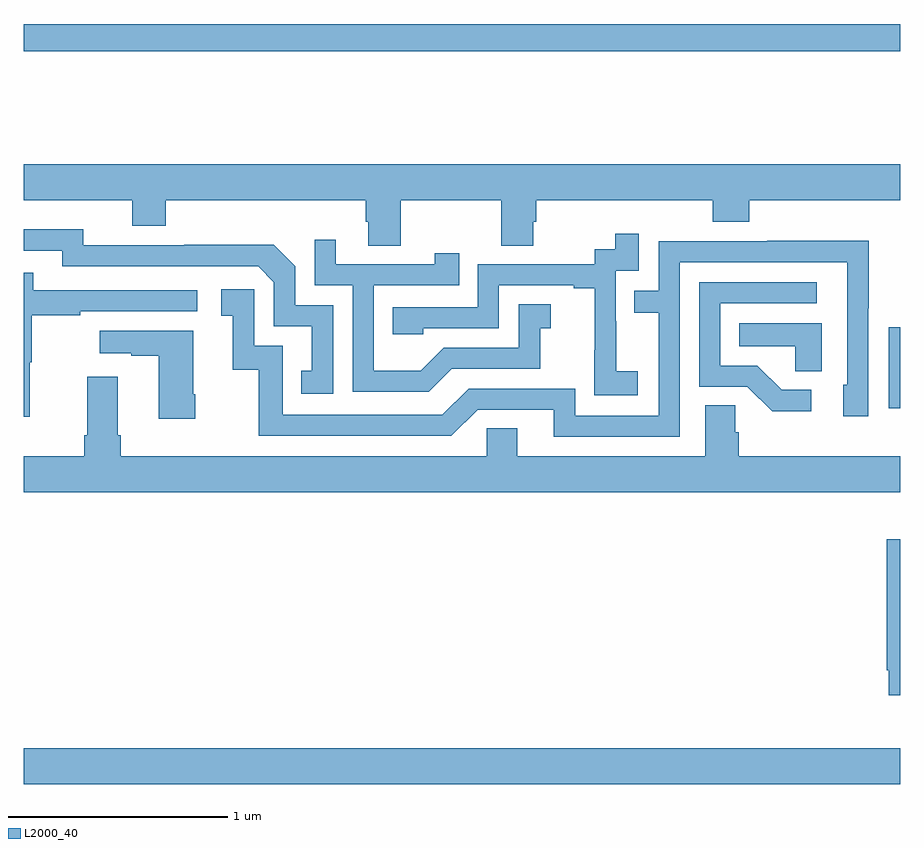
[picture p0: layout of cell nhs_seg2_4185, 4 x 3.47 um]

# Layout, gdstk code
import gdstk
lib = gdstk.Library(unit=1e-6, precision=1e-09)
def R(c, l, rs):  # rectangles x0, y0, x1, y1
    for r in rs: c.add(gdstk.rectangle(r[:2], r[2:], *l))
def P(c, l, *ps):  # polygons
    for p in ps: c.add(gdstk.Polygon(p, *l))
L2000_40 = (2000, 40)

nhs_seg2_4185 = lib.new_cell('nhs_seg2_4185')
R(nhs_seg2_4185, L2000_40, [(337,618.332,341,618.496), (340.947,620.046,341,620.416), (337,621.676,341,621.8)])
P(nhs_seg2_4185, L2000_40, [(338.721,620.996),(339.178,620.996),(339.178,620.788),(339.325,620.788),(339.325,620.898),(339.338,620.898),(339.338,620.996),(340.145,620.996),(340.145,620.897),(340.31,620.897),(340.31,620.996),(341,620.996),(341,621.16),(337,621.16),(337,620.996),(337.496,620.996),(337.496,620.879),(337.649,620.879),(337.649,620.996),(338.561,620.996),(338.561,620.898),(338.573,620.898),(338.573,620.788),(338.721,620.788)],
  [(338.412,620.517),(338.238,620.517),(338.238,620.694),(338.14,620.792),(337.732,620.792),(337.732,620.79),(337.272,620.79),(337.272,620.863),(337,620.863),(337,620.766),(337.176,620.766),(337.176,620.694),(338.07,620.694),(338.142,620.622),(338.142,620.421),(338.315,620.421),(338.315,620.217),(338.266,620.217),(338.266,620.112),(338.412,620.112)],
  [(339.802,620.215),(339.704,620.215),(339.704,620.444),(339.702,620.444),(339.702,620.673),(339.807,620.673),(339.807,620.842),(339.699,620.842),(339.699,620.772),(339.606,620.772),(339.606,620.703),(339.072,620.703),(339.072,620.508),(338.683,620.508),(338.683,620.385),(338.823,620.385),(338.823,620.412),(339.168,620.412),(339.168,620.607),(339.509,620.607),(339.509,620.595),(339.605,620.595),(339.605,620.311),(339.604,620.311),(339.604,620.105),(339.802,620.105)],
  [(338.953,620.226),(339.357,620.226),(339.357,620.411),(339.406,620.411),(339.406,620.521),(339.258,620.521),(339.258,620.322),(338.916,620.322),(338.812,620.218),(338.598,620.218),(338.598,620.607),(338.987,620.607),(338.987,620.755),(338.876,620.755),(338.876,620.703),(338.425,620.703),(338.425,620.815),(338.328,620.815),(338.328,620.607),(338.502,620.607),(338.502,620.121),(338.848,620.121)],
  [(339.993,620.712),(340.758,620.712),(340.758,620.154),(340.739,620.154),(340.739,620.01),(340.854,620.01),(340.854,620.503),(340.857,620.503),(340.857,620.81),(340.393,620.81),(340.393,620.808),(339.897,620.808),(339.897,620.583),(339.787,620.583),(339.787,620.482),(339.897,620.482),(339.897,620.013),(339.516,620.013),(339.516,620.136),(339.03,620.136),(338.91,620.016),(338.181,620.016),(338.181,620.331),(338.052,620.331),(338.052,620.59),(337.902,620.59),(337.902,620.469),(337.955,620.469),(337.955,620.223),(338.073,620.223),(338.073,619.92),(338.952,619.92),(339.072,620.04),(339.419,620.04),(339.419,619.917),(339.993,619.917)],
  [(337.028,620.256),(337.036,620.256),(337.036,620.47),(337.259,620.47),(337.259,620.49),(337.792,620.49),(337.792,620.586),(337.043,620.586),(337.043,620.665),(337,620.665),(337,620.007),(337.028,620.007)],
  [(340.594,620.13),(340.459,620.13),(340.348,620.241),(340.179,620.241),(340.179,620.526),(340.618,620.526),(340.618,620.622),(340.083,620.622),(340.083,620.145),(340.302,620.145),(340.415,620.033),(340.594,620.033)],
  [(340.642,620.434),(340.264,620.434),(340.264,620.33),(340.521,620.33),(340.521,620.215),(340.642,620.215)],
  [(337.782,620.11),(337.774,620.11),(337.774,620.401),(337.347,620.401),(337.347,620.297),(337.49,620.297),(337.49,620.287),(337.616,620.287),(337.616,619.998),(337.782,619.998)],
  [(341,619.828),(340.262,619.828),(340.262,619.937),(340.248,619.937),(340.248,620.06),(340.109,620.06),(340.109,619.828),(339.253,619.828),(339.253,619.955),(339.114,619.955),(339.114,619.828),(337.442,619.828),(337.442,619.924),(337.429,619.924),(337.429,620.191),(337.289,620.191),(337.289,619.924),(337.277,619.924),(337.277,619.828),(337,619.828),(337,619.664),(341,619.664)],
  [(341,619.448),(340.939,619.448),(340.939,618.85),(340.947,618.85),(340.947,618.738),(341,618.738)])

lib.write_gds('nhs_seg2_4185.gds')
